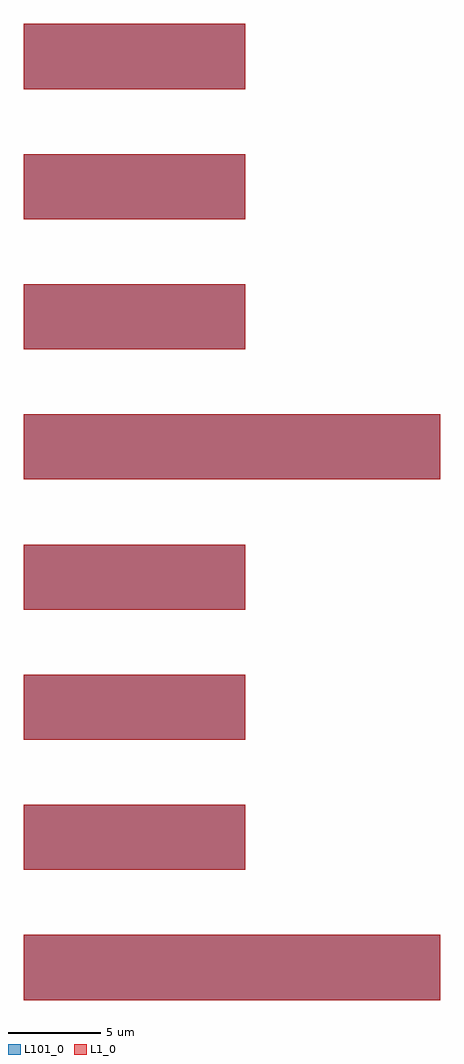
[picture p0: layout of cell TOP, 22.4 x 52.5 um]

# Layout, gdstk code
from math import pi, radians
import gdstk
lib = gdstk.Library(unit=1e-6, precision=1e-09)
def R(c, l, rs):  # rectangles x0, y0, x1, y1
    for r in rs: c.add(gdstk.rectangle(r[:2], r[2:], *l))
def A(c, l, x, y, w, h, nx, ny, dx, dy):  # array of equal rectangles
    R(c, l, [(x+i*dx, y+j*dy, x+i*dx+w, y+j*dy+h) for i in range(nx) for j in range(ny)])
L1_0 = (1, 0)
L101_0 = (101, 0)

c_c3 = lib.new_cell('C3')
R(c_c3, L1_0, [(0,0,10.5,3.5)])

c_c2 = lib.new_cell('C2')
R(c_c2, L1_0, [(0,243.25,3.5,255.15)])

c_c1 = lib.new_cell('C1')
A(c_c1, L101_0, 968.1, 344.75, 11.9, 3.5, 1, 3, 0, 7)
A(c_c1, L101_0, 968.1, 372.75, 11.9, 3.5, 1, 3, 0, 7)
r = gdstk.Reference(c_c2, (1223.25,390.25), rotation=3*pi/2, x_reflection=True); r.repetition = gdstk.Repetition(8, 1, v1=(0,-7), v2=(0,0)); c_c1.add(r)

top = lib.new_cell('TOP')
R(top, L101_0, [(0,0,11.9,3.5), (11.9,0,22.4,3.5), (0,28,11.9,31.5), (11.9,28,22.4,31.5)])
r = gdstk.Reference(c_c3, (22.4,0), rotation=pi, x_reflection=True); r.repetition = gdstk.Repetition(1, 2, v1=(0,0), v2=(0,28)); top.add(r)
top.add(gdstk.Reference(c_c1, (-968.1,-337.75)))

lib.write_gds('TOP.gds')
